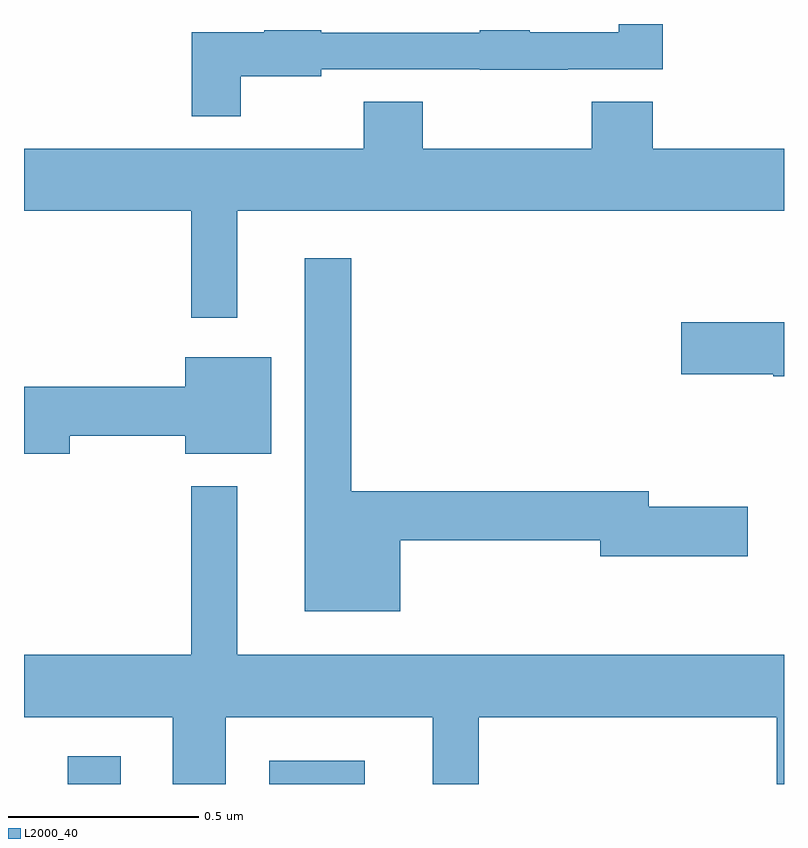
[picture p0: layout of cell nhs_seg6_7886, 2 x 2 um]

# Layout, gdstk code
import gdstk
lib = gdstk.Library(unit=1e-6, precision=1e-09)
def R(c, l, rs):  # rectangles x0, y0, x1, y1
    for r in rs: c.add(gdstk.rectangle(r[:2], r[2:], *l))
def P(c, l, *ps):  # polygons
    for p in ps: c.add(gdstk.Polygon(p, *l))
L2000_40 = (2000, 40)

nhs_seg6_7886 = lib.new_cell('nhs_seg6_7886')
R(nhs_seg6_7886, L2000_40, [(214.115,940.5,214.255,940.573), (214.646,940.5,214.897,940.561)])
P(nhs_seg6_7886, L2000_40, [(214.57,942.362),(214.782,942.362),(214.782,942.381),(215.199,942.381),(215.199,942.38),(215.431,942.38),(215.431,942.381),(215.681,942.381),(215.681,942.5),(215.565,942.5),(215.565,942.478),(215.331,942.478),(215.331,942.484),(215.199,942.484),(215.199,942.477),(214.782,942.477),(214.782,942.484),(214.632,942.484),(214.632,942.478),(214.441,942.478),(214.441,942.257),(214.57,942.257)],
  [(216,942.172),(215.654,942.172),(215.654,942.296),(215.494,942.296),(215.494,942.172),(215.049,942.172),(215.049,942.296),(214.894,942.296),(214.894,942.172),(214,942.172),(214,942.008),(214.44,942.008),(214.44,941.727),(214.561,941.727),(214.561,942.008),(216,942.008)],
  [(214.99,941.142),(215.516,941.142),(215.516,941.099),(215.905,941.099),(215.905,941.229),(215.644,941.229),(215.644,941.27),(214.861,941.27),(214.861,941.884),(214.739,941.884),(214.739,940.955),(214.99,940.955)],
  [(216,941.715),(215.73,941.715),(215.73,941.578),(215.972,941.578),(215.972,941.573),(216,941.573)],
  [(214.12,941.416),(214.424,941.416),(214.424,941.369),(214.651,941.369),(214.651,941.623),(214.424,941.623),(214.424,941.545),(214,941.545),(214,941.369),(214.12,941.369)],
  [(214.531,940.676),(215.075,940.676),(215.075,940.5),(215.197,940.5),(215.197,940.676),(215.981,940.676),(215.981,940.5),(216,940.5),(216,940.84),(214.561,940.84),(214.561,941.284),(214.44,941.284),(214.44,940.84),(214,940.84),(214,940.676),(214.391,940.676),(214.391,940.5),(214.531,940.5)])

lib.write_gds('nhs_seg6_7886.gds')
